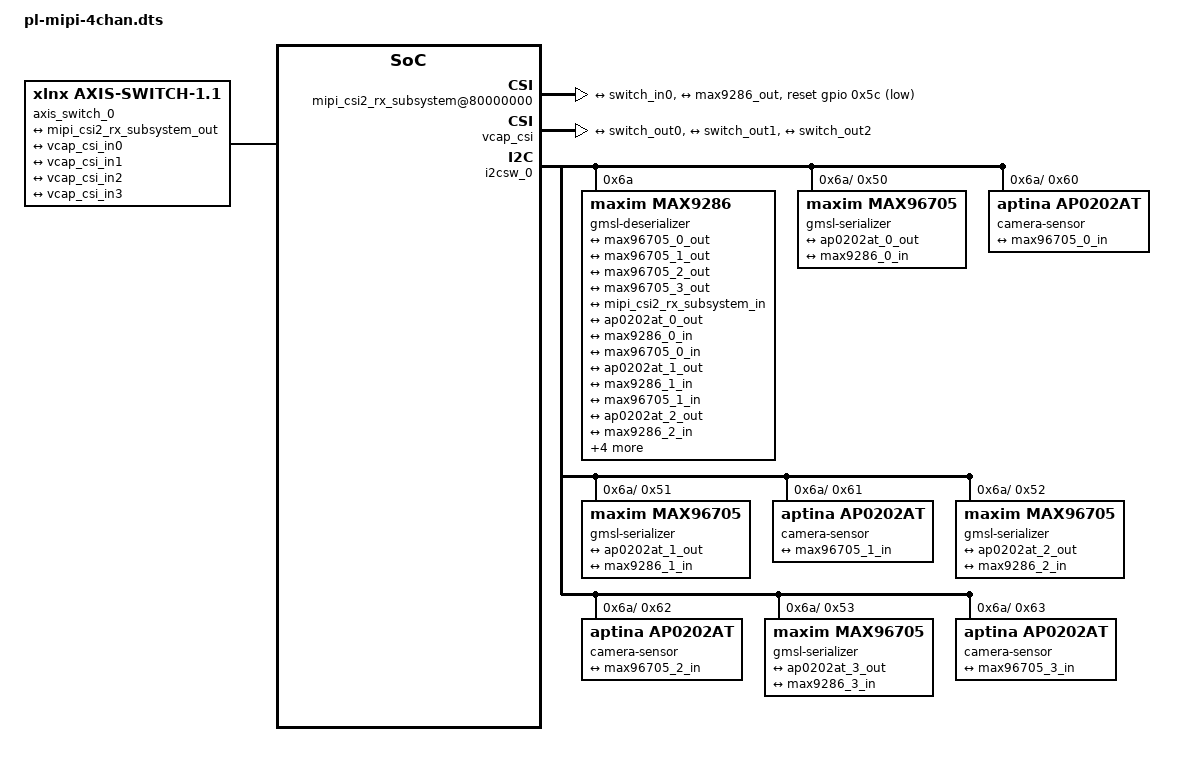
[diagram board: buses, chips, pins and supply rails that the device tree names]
// SPDX-License-Identifier: GPL-2.0+
/*
 * dts file for PL MIPI with quad-channel design
 *
 * (C) Copyright 2020, Xilinx, Inc.
 *
 * Hyun Kwon <hyun.kwon@xilinx.com>
 */

/dts-v1/;

#include "avnet-ultra96-rev1.dts"

/ {
	amba_pl@0 {
		#address-cells = <0x2>;
		#size-cells = <0x2>;
		compatible = "simple-bus";
		ranges;

		misc_clk_0: misc_clk_0 {
			#clock-cells = <0x0>;
			clock-frequency = <0xbebc200>;
			compatible = "fixed-clock";
		};

		mipi_csi2_rx_subsystem@80000000 {
			clock-names = "lite_aclk", "dphy_clk_200M", "video_aclk";
			clocks = <&misc_clk_0 &misc_clk_0 &misc_clk_0>;
			compatible = "xlnx,mipi-csi2-rx-subsystem-5.0";
			xlnx,en-active-lanes;
			interrupt-names = "csirxss_csi_irq";
			interrupt-parent = <&gic>;
			interrupts = <0x0 0x5a 0x4>;
			reg = <0x0 0x80000000 0x0 0x20000>;
			xlnx,axis-tdata-width = <0x10>;
			xlnx,csi-pxl-format = "YUV422_8bit";
			xlnx,max-lanes = <0x4>;
			xlnx,ppc = <0x1>;
			xlnx,vc = <0x4>;
			xlnx,vfb;
			reset-gpios = <&gpio 0x5c 0x1>;

			ports {
				#address-cells = <0x1>;
				#size-cells = <0x0>;

				port@0 {
					reg = <0x0>;
					xlnx,cfa-pattern = "rggb";
					xlnx,video-format = <0x0>;
					xlnx,video-width = <0x8>;

					mipi_csi2_rx_subsystem_out: endpoint {
						remote-endpoint = <&switch_in0>;
					};
				};

				port@1 {
					reg = <0x1>;
					xlnx,cfa-pattern = "rggb";
					xlnx,video-format = <0x0>;
					xlnx,video-width = <0x8>;

					mipi_csi2_rx_subsystem_in: endpoint {
						data-lanes = <0 1 2 3>;
						remote-endpoint = <&max9286_out>;
					};
				};
			};
		};
		PERIPHERAL@ff380000 {
			compatible = "xlnx,PERIPHERAL-1.0";
			reg = <0x0 0xff380000 0x0 0x80000>;
		};

		PERIPHERAL@ff990000 {
			compatible = "xlnx,PERIPHERAL-1.0";
			reg = <0x0 0xff990000 0x0 0x10000>;
		};

		v_frmbuf_wr0: v_frmbuf_wr@80020000 {
			#dma-cells = <0x1>;
			clock-names = "ap_clk";
			clocks = <&misc_clk_0>;
			compatible = "xlnx,v-frmbuf-wr-2.1", "xlnx,axi-frmbuf-wr-v2.1";
			interrupt-names = "interrupt";
			interrupt-parent = <&gic>;
			interrupts = <0x0 0x5b 0x4>;
			reg = <0x0 0x80020000 0x0 0x10000>;
			reset-gpios = <&gpio 0x54 0x1>;
			xlnx,dma-addr-width = <0x20>;
			xlnx,max-height = <0x870>;
			xlnx,max-width = <0xf00>;
			xlnx,pixels-per-clock = <0x1>;
			xlnx,vid-formats = "rgb888", "bgr888", "xbgr8888", "xbgr8888", "uyvy", "y8", "vuy888", "xvuy8888", "yuyv", "nv12", "nv16";
		};

		v_frmbuf_wr1: v_frmbuf_wr@80070000 {
			#dma-cells = <0x1>;
			clock-names = "ap_clk";
			clocks = <&misc_clk_0>;
			compatible = "xlnx,v-frmbuf-wr-2.1", "xlnx,axi-frmbuf-wr-v2.1";
			interrupt-names = "interrupt";
			interrupt-parent = <&gic>;
			interrupts = <0x0 0x5c 0x4>;
			reg = <0x0 0x80070000 0x0 0x10000>;
			reset-gpios = <&gpio 0x56 0x1>;
			xlnx,dma-addr-width = <0x20>;
			xlnx,max-height = <0x870>;
			xlnx,max-width = <0xf00>;
			xlnx,pixels-per-clock = <0x1>;
			xlnx,vid-formats = "rgb888", "bgr888", "xbgr8888", "xbgr8888", "uyvy", "y8", "vuy888", "xvuy8888", "yuyv", "nv12", "nv16";
		};

		v_frmbuf_wr2: v_frmbuf_wr@80180000 {
			#dma-cells = <0x1>;
			clock-names = "ap_clk";
			clocks = <&misc_clk_0>;
			compatible = "xlnx,v-frmbuf-wr-2.1", "xlnx,axi-frmbuf-wr-v2.1";
			interrupt-names = "interrupt";
			interrupt-parent = <&gic>;
			interrupts = <0x0 0x5f 0x4>;
			reg = <0x0 0x80180000 0x0 0x10000>;
			reset-gpios = <&gpio 0x58 0x1>;
			xlnx,dma-addr-width = <0x20>;
			xlnx,max-height = <0x870>;
			xlnx,max-width = <0xf00>;
			xlnx,pixels-per-clock = <0x1>;
			xlnx,vid-formats = "rgb888", "bgr888", "xbgr8888", "xbgr8888", "uyvy", "y8", "vuy888", "xvuy8888", "yuyv", "nv12", "nv16";
		};

		v_frmbuf_wr3: v_frmbuf_wr@80190000 {
			#dma-cells = <0x1>;
			clock-names = "ap_clk";
			clocks = <&misc_clk_0>;
			compatible = "xlnx,v-frmbuf-wr-2.1", "xlnx,axi-frmbuf-wr-v2.1";
			interrupt-names = "interrupt";
			interrupt-parent = <&gic>;
			interrupts = <0x0 0x60 0x4>;
			reg = <0x0 0x80190000 0x0 0x10000>;
			reset-gpios = <&gpio 0x5a 0x1>;
			xlnx,dma-addr-width = <0x20>;
			xlnx,max-height = <0x870>;
			xlnx,max-width = <0xf00>;
			xlnx,pixels-per-clock = <0x1>;
			xlnx,vid-formats = "rgb888", "bgr888", "xbgr8888", "xbgr8888", "uyvy", "y8", "vuy888", "xvuy8888", "yuyv", "nv12", "nv16";
		};

		/*
		v_proc_ss@80080000 {
			clock-names = "aclk_axis", "aclk_ctrl";
			clocks = <&misc_clk_0 &misc_clk_0>;
			compatible = "xlnx,v-proc-ss-2.0", "xlnx,v-vpss-scaler";
			reg = <0x0 0x80080000 0x0 0x40000>;
			reset-gpios = <&gpio 0x55 0x1>;
			xlnx,max-height = <0x870>;
			xlnx,max-width = <0xf00>;
			xlnx,num-hori-taps = <0x8>;
			xlnx,num-vert-taps = <0x8>;
			xlnx,pix-per-clk = <0x1>;

			ports {
				#address-cells = <0x1>;
				#size-cells = <0x0>;

				port@0 {
					reg = <0x0>;
					xlnx,video-format = <0x0>;
					xlnx,video-width = <0x8>;

					v_proc_ss0_in: endpoint {
						remote-endpoint = <&switch_out0>;
					};
				};

				port@1 {
					reg = <0x1>;
					xlnx,video-format = <0x0>;
					xlnx,video-width = <0x8>;

					v_proc_ss0_out: endpoint {
						remote-endpoint = <&vcap_csi_in0>;
					};
				};
			};
		};

		v_proc_ss@800c0000 {
			clock-names = "aclk_axis", "aclk_ctrl";
			clocks = <&misc_clk_0 &misc_clk_0>;
			compatible = "xlnx,v-proc-ss-2.0", "xlnx,v-vpss-scaler";
			reg = <0x0 0x800c0000 0x0 0x40000>;
			reset-gpios = <&gpio 0x57 0x1>;
			xlnx,max-height = <0x870>;
			xlnx,max-width = <0xf00>;
			xlnx,num-hori-taps = <0x8>;
			xlnx,num-vert-taps = <0x8>;
			xlnx,pix-per-clk = <0x1>;

			ports {
				#address-cells = <0x1>;
				#size-cells = <0x0>;

				port@0 {
					reg = <0x0>;
					xlnx,video-format = <0x0>;
					xlnx,video-width = <0x8>;

					v_proc_ss1_in: endpoint {
						remote-endpoint = <&switch_out1>;
					};
				};

				port@1 {
					reg = <0x1>;
					xlnx,video-format = <0x0>;
					xlnx,video-width = <0x8>;

					v_proc_ss1_out: endpoint {
						remote-endpoint = <&vcap_csi_in1>;
					};
				};
			};
		};
		v_proc_ss@80100000 {
			clock-names = "aclk_axis", "aclk_ctrl";
			clocks = <&misc_clk_0 &misc_clk_0>;
			compatible = "xlnx,v-proc-ss-2.0", "xlnx,v-vpss-scaler";
			reg = <0x0 0x80100000 0x0 0x40000>;
			reset-gpios = <&gpio 0x59 0x1>;
			xlnx,max-height = <0x870>;
			xlnx,max-width = <0xf00>;
			xlnx,num-hori-taps = <0x8>;
			xlnx,num-vert-taps = <0x8>;
			xlnx,pix-per-clk = <0x1>;

			ports {
				#address-cells = <0x1>;
				#size-cells = <0x0>;

				port@0 {
					reg = <0x0>;
					xlnx,video-format = <0x0>;
					xlnx,video-width = <0x8>;

					v_proc_ss2_in: endpoint {
						remote-endpoint = <&switch_out2>;
					};
				};

				port@1 {
					reg = <0x1>;
					xlnx,video-format = <0x0>;
					xlnx,video-width = <0x8>;

					v_proc_ss2_out: endpoint {
						remote-endpoint = <&vcap_csi_in2>;
					};
				};
			};
		};

		v_proc_ss@80140000 {
			clock-names = "aclk_axis", "aclk_ctrl";
			clocks = <&misc_clk_0 &misc_clk_0>;
			compatible = "xlnx,v-proc-ss-2.0", "xlnx,v-vpss-scaler";
			reg = <0x0 0x80140000 0x0 0x40000>;
			reset-gpios = <&gpio 0x5b 0x1>;
			xlnx,max-height = <0x870>;
			xlnx,max-width = <0xf00>;
			xlnx,num-hori-taps = <0x8>;
			xlnx,num-vert-taps = <0x8>;
			xlnx,pix-per-clk = <0x1>;

			ports {
				#address-cells = <0x1>;
				#size-cells = <0x0>;

				port@0 {
					reg = <0x0>;
					xlnx,video-format = <0x0>;
					xlnx,video-width = <0x8>;

					v_proc_ss3_in: endpoint {
						remote-endpoint = <&switch_out3>;
					};
				};

				port@1 {
					reg = <0x1>;
					xlnx,video-format = <0x0>;
					xlnx,video-width = <0x8>;

					v_proc_ss3_out: endpoint {
						remote-endpoint = <&vcap_csi_in3>;
					};
				};
			};
		};
		*/

		axis_switch_0: axis_switch@0 {
			compatible = "xlnx,axis-switch-1.1";
			xlnx,routing-mode = <0x0>;
			xlnx,num-si-slots = <0x1>;
			xlnx,num-mi-slots = <0x4>;
			clocks = <&misc_clk_0>;
			clock-names = "aclk";

			ports {
				#address-cells = <1>;
				#size-cells = <0>;
				port@0 {
					reg = <0>;
					switch_in0: endpoint {
						remote-endpoint = <&mipi_csi2_rx_subsystem_out>;
					};
				};
				port@1 {
					reg = <1>;
					switch_out0: endpoint {
						remote-endpoint = <&vcap_csi_in0>;
					};
				};
				port@2 {
					reg = <2>;
					switch_out1: endpoint {
						remote-endpoint = <&vcap_csi_in1>;
					};
				};
				port@3 {
					reg = <3>;
					switch_out2: endpoint {
						remote-endpoint = <&vcap_csi_in2>;
					};
				};
				port@4 {
					reg = <4>;
					switch_out3: endpoint {
						remote-endpoint = <&vcap_csi_in3>;
					};
				};
			};
		};

		vcap_csi {
			compatible = "xlnx,video";
			dma-names = "port0", "port1", "port2", "port3" ;
			dmas = <&v_frmbuf_wr0 0x0 &v_frmbuf_wr1 0x0 &v_frmbuf_wr2 0x0 &v_frmbuf_wr3 0x0>;

			ports {
				#address-cells = <0x1>;
				#size-cells = <0x0>;

				port@0 {
					direction = "input";
					reg = <0x0>;

					vcap_csi_in0: endpoint {
						remote-endpoint = <&switch_out0>;
					};
				};
				port@1 {
					direction = "input";
					reg = <0x1>;

					vcap_csi_in1: endpoint {
						remote-endpoint = <&switch_out1>;
					};
				};
				port@2 {
					direction = "input";
					reg = <0x2>;

					vcap_csi_in2: endpoint {
						remote-endpoint = <&switch_out2>;
					};
				};
				port@3 {
					direction = "input";
					reg = <0x3>;

					vcap_csi_in3: endpoint {
						remote-endpoint = <&switch_out3>;
					};
				};

			};
		};
	};
};

&i2csw_0 {
	gmsl-deserializer@6a {
		compatible = "maxim,max9286";
		reg = <0x6a>;
		ports {
			#address-cells = <1>;
			#size-cells = <0>;
			port@0 {
				reg = <0>;
				max9286_0_in: endpoint {
					remote-endpoint = <&max96705_0_out>;
				};
			};
			port@1 {
				reg = <1>;
				max9286_1_in: endpoint {
					remote-endpoint = <&max96705_1_out>;
				};
			};
			port@2 {
				reg = <2>;
				max9286_2_in: endpoint {
					remote-endpoint = <&max96705_2_out>;
				};
			};
			port@3 {
				reg = <3>;
				max9286_3_in: endpoint {
					remote-endpoint = <&max96705_3_out>;
				};
			};
			port@4 {
				reg = <4>;
				max9286_out: endpoint {
					data-lanes = <0 1 2 3>;
					remote-endpoint = <&mipi_csi2_rx_subsystem_in>;
				};
			};
		};
		i2c-mux {
			#address-cells = <1>;
			#size-cells = <0>;
			i2c@0 {
				#address-cells = <1>;
				#size-cells = <0>;
				reg = <0>;
				gmsl-serializer@50 {
					compatible = "maxim,max96705";
					reg = <0x50>;
					ports {
						#address-cells = <1>;
						#size-cells = <0>;
						port@0 {
							reg = <0>;
							max96705_0_in: endpoint {
								remote-endpoint = <&ap0202at_0_out>;
							};
						};
						port@1 {
							reg = <1>;
							max96705_0_out: endpoint {
								remote-endpoint = <&max9286_0_in>;
							};
						};
					};
				};

				camera-sensor@60 {
					compatible = "aptina,ap0202at";
					reg = <0x60>;
					port {
						ap0202at_0_out: endpoint {
							remote-endpoint = <&max96705_0_in>;
						};
					};
				};
			};

			i2c@1 {
				#address-cells = <1>;
				#size-cells = <0>;
				reg = <1>;
				gmsl-serializer@51 {
					compatible = "maxim,max96705";
					reg = <0x51>;
					ports {
						#address-cells = <1>;
						#size-cells = <0>;
						port@0 {
							reg = <0>;
							max96705_1_in: endpoint {
								remote-endpoint = <&ap0202at_1_out>;
							};
						};
						port@1 {
							reg = <1>;
							max96705_1_out: endpoint {
								remote-endpoint = <&max9286_1_in>;
							};
						};
					};
				};

				camera-sensor@61 {
					compatible = "aptina,ap0202at";
					reg = <0x61>;
					port {
						ap0202at_1_out: endpoint {
							remote-endpoint = <&max96705_1_in>;
						};
					};
				};
			};

			i2c@2 {
				#address-cells = <1>;
				#size-cells = <0>;
				reg = <2>;
				gmsl-serializer@52 {
					compatible = "maxim,max96705";
					reg = <0x52>;
					ports {
						#address-cells = <1>;
						#size-cells = <0>;
						port@0 {
							reg = <0>;
							max96705_2_in: endpoint {
								remote-endpoint = <&ap0202at_2_out>;
							};
						};
						port@1 {
							reg = <1>;
							max96705_2_out: endpoint {
								remote-endpoint = <&max9286_2_in>;
							};
						};
					};
				};

				camera-sensor@62 {
					compatible = "aptina,ap0202at";
					reg = <0x62>;
					port {
						ap0202at_2_out: endpoint {
							remote-endpoint = <&max96705_2_in>;
						};
					};
				};
			};

			i2c@3 {
				#address-cells = <1>;
				#size-cells = <0>;
				reg = <3>;
				gmsl-serializer@53 {
					compatible = "maxim,max96705";
					reg = <0x53>;
					ports {
						#address-cells = <1>;
						#size-cells = <0>;
						port@0 {
							reg = <0>;
							max96705_3_in: endpoint {
								remote-endpoint = <&ap0202at_3_out>;
							};
						};
						port@1 {
							reg = <1>;
							max96705_3_out: endpoint {
								remote-endpoint = <&max9286_3_in>;
							};
						};
					};
				};

				camera-sensor@63 {
					compatible = "aptina,ap0202at";
					reg = <0x63>;
					port {
						ap0202at_3_out: endpoint {
							remote-endpoint = <&max96705_3_in>;
						};
					};
				};
			};
		};
	};
};
